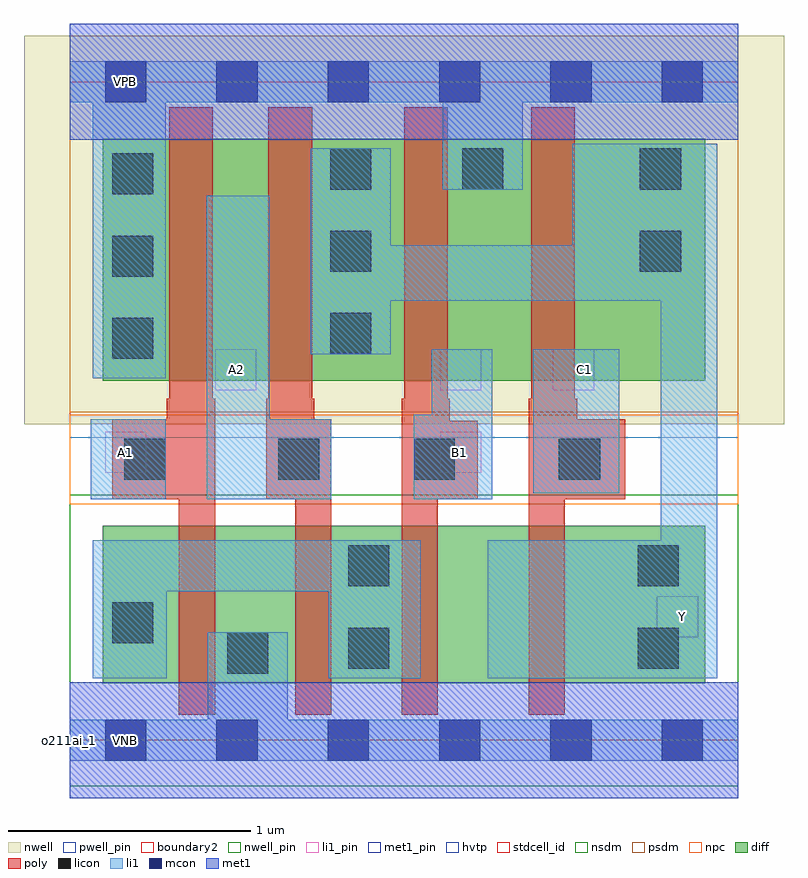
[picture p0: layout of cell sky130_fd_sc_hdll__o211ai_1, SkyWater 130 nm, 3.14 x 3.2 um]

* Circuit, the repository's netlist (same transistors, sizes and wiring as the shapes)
* Copyright 2020 The SkyWater PDK Authors
*
* Licensed under the Apache License, Version 2.0 (the "License");
* you may not use this file except in compliance with the License.
* You may obtain a copy of the License at
*
*     https://www.apache.org/licenses/LICENSE-2.0
*
* Unless required by applicable law or agreed to in writing, software
* distributed under the License is distributed on an "AS IS" BASIS,
* WITHOUT WARRANTIES OR CONDITIONS OF ANY KIND, either express or implied.
* See the License for the specific language governing permissions and
* limitations under the License.
*
* SPDX-License-Identifier: Apache-2.0

.SUBCKT sky130_fd_sc_hdll__o211ai_1 A1 A2 B1 C1 VGND VNB VPB VPWR Y
*.PININFO A1:I A2:I B1:I C1:I VGND:I VNB:I VPB:I VPWR:I Y:O
MMPA0 VPWR A1 sndA1 VPB sky130_fd_pr__pfet_01v8_hvt m=1 w=1.0U l=0.18U mult=1 sa=0.265
+ sb=0.265 sd=0.28 area=0.063 perim=1.14
MMPA1 sndA1 A2 Y VPB sky130_fd_pr__pfet_01v8_hvt m=1 w=1.0U l=0.18U mult=1 sa=0.265
+ sb=0.265 sd=0.28 area=0.063 perim=1.14
MMPB0 VPWR B1 Y VPB sky130_fd_pr__pfet_01v8_hvt m=1 w=1.0U l=0.18U mult=1 sa=0.265
+ sb=0.265 sd=0.28 area=0.063 perim=1.14
MMPC0 VPWR C1 Y VPB sky130_fd_pr__pfet_01v8_hvt m=1 w=1.0U l=0.18U mult=1 sa=0.265
+ sb=0.265 sd=0.28 area=0.063 perim=1.14
MMNA0 pndA A1 VGND VNB sky130_fd_pr__nfet_01v8 m=1 w=0.65U l=0.15U mult=1 sa=0.265
+ sb=0.265 sd=0.28 area=0.063 perim=1.14
MMNA1 pndA A2 VGND VNB sky130_fd_pr__nfet_01v8 m=1 w=0.65U l=0.15U mult=1 sa=0.265
+ sb=0.265 sd=0.28 area=0.063 perim=1.14
MMNB0 pndB B1 pndA VNB sky130_fd_pr__nfet_01v8 m=1 w=0.65U l=0.15U mult=1 sa=0.265
+ sb=0.265 sd=0.28 area=0.063 perim=1.14
MMNC0 Y C1 pndB VNB sky130_fd_pr__nfet_01v8 m=1 w=0.65U l=0.15U mult=1 sa=0.265
+ sb=0.265 sd=0.28 area=0.063 perim=1.14
.ENDS sky130_fd_sc_hdll__o211ai_1

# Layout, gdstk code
import gdstk
lib = gdstk.Library(unit=1e-6, precision=1e-09)
def R(c, l, rs):  # rectangles x0, y0, x1, y1
    for r in rs: c.add(gdstk.rectangle(r[:2], r[2:], *l))
def A(c, l, x, y, w, h, nx, ny, dx, dy):  # array of equal rectangles
    R(c, l, [(x+i*dx, y+j*dy, x+i*dx+w, y+j*dy+h) for i in range(nx) for j in range(ny)])
def P(c, l, *ps):  # polygons
    for p in ps: c.add(gdstk.Polygon(p, *l))
nwell_pin = (64, 16)
nwell = (64, 20)
diff = (65, 20)
poly = (66, 20)
licon = (66, 44)
li1_pin = (67, 16)
li1 = (67, 20)
mcon = (67, 44)
met1_pin = (68, 16)
met1 = (68, 20)
hvtp = (78, 44)
stdcell_id = (81, 4)
nsdm = (93, 44)
psdm = (94, 20)
npc = (95, 20)
pwell_pin = (122, 16)
boundary2 = (236, 0)

sky130_fd_sc_hdll__o211a = lib.new_cell('sky130_fd_sc_hdll__o211ai_1')
R(sky130_fd_sc_hdll__o211a, nwell_pin, [(0.145,2.635,0.315,2.805)])
R(sky130_fd_sc_hdll__o211a, nwell, [(-0.19,1.305,2.95,2.91)])
R(sky130_fd_sc_hdll__o211a, diff, [(0.135,0.235,2.625,0.885), (0.135,1.485,2.625,2.485)])
P(sky130_fd_sc_hdll__o211a, poly, [(0.6,1.41),(0.59,1.41),(0.59,2.615),(0.41,2.615),(0.41,1.41),(0.4,1.41),(0.4,1.325),(0.175,1.325),(0.175,0.995),(0.45,0.995),(0.45,0.105),(0.6,0.105)],
  [(1.08,1.325),(1.01,1.325),(1.01,1.41),(1,1.41),(1,2.615),(0.82,2.615),(0.82,1.41),(0.81,1.41),(0.81,0.995),(0.93,0.995),(0.93,0.105),(1.08,0.105)],
  [(1.685,1.32),(1.57,1.32),(1.57,1.41),(1.56,1.41),(1.56,2.615),(1.38,2.615),(1.38,1.41),(1.37,1.41),(1.37,0.105),(1.52,0.105),(1.52,0.995),(1.685,0.995)],
  [(2.295,1.325),(2.095,1.325),(2.095,1.41),(2.085,1.41),(2.085,2.615),(1.905,2.615),(1.905,1.41),(1.895,1.41),(1.895,0.105),(2.045,0.105),(2.045,0.995),(2.295,0.995)])
A(sky130_fd_sc_hdll__o211a, licon, 0.175, 1.575, 0.17, 0.17, 1, 3, 0, 0.34)
A(sky130_fd_sc_hdll__o211a, licon, 1.075, 1.595, 0.17, 0.17, 1, 3, 0, 0.34)
R(sky130_fd_sc_hdll__o211a, licon, [(0.65,0.275,0.82,0.445), (1.15,0.295,1.32,0.465), (2.345,0.295,2.515,0.465), (0.175,0.4,0.345,0.57), (1.15,0.635,1.32,0.805), (2.345,0.635,2.515,0.805), (0.225,1.075,0.395,1.245), (0.86,1.075,1.03,1.245), (1.42,1.075,1.59,1.245), (2.02,1.075,2.19,1.245), (2.355,1.935,2.525,2.105), (1.62,2.275,1.79,2.445), (2.355,2.275,2.525,2.445)])
R(sky130_fd_sc_hdll__o211a, li1_pin, [(2.425,0.425,2.595,0.595), (0.145,1.105,0.315,1.275), (1.53,1.105,1.7,1.275), (0.6,1.445,0.77,1.615), (1.53,1.445,1.7,1.615), (1.995,1.445,2.165,1.615)])
R(sky130_fd_sc_hdll__o211a, li1, [(0.085,0.995,0.395,1.325), (1.915,1.02,2.27,1.615)])
P(sky130_fd_sc_hdll__o211a, li1, [(1.745,1.615),(1.495,1.615),(1.495,1.345),(1.42,1.345),(1.42,0.995),(1.745,0.995)],
  [(1.45,0.825),(0.095,0.825),(0.095,0.255),(0.4,0.255),(0.4,0.615),(1.07,0.615),(1.07,0.255),(1.45,0.255)],
  [(2.675,2.465),(2.075,2.465),(2.075,2.045),(1.325,2.045),(1.325,2.445),(0.995,2.445),(0.995,1.595),(1.325,1.595),(1.325,1.815),(2.44,1.815),(2.44,0.825),(1.725,0.825),(1.725,0.255),(2.675,0.255)],
  [(2.76,2.805),(0,2.805),(0,2.635),(0.095,2.635),(0.095,1.495),(0.395,1.495),(0.395,2.635),(1.54,2.635),(1.54,2.275),(1.87,2.275),(1.87,2.635),(2.76,2.635)],
  [(2.76,0.085),(0.9,0.085),(0.9,0.445),(0.57,0.445),(0.57,0.085),(0,0.085),(0,-0.085),(2.76,-0.085)],
  [(1.08,1.325),(0.825,1.325),(0.825,2.25),(0.565,2.25),(0.565,0.995),(1.08,0.995)])
A(sky130_fd_sc_hdll__o211a, mcon, 0.145, -0.085, 0.17, 0.17, 6, 2, 0.46, 2.72)
R(sky130_fd_sc_hdll__o211a, mcon, [(1.525,2.635,1.59,2.805)])
R(sky130_fd_sc_hdll__o211a, met1_pin, [(0.145,-0.085,0.315,0.085), (0.145,2.635,0.315,2.805)])
R(sky130_fd_sc_hdll__o211a, met1, [(0,-0.24,2.76,0.24), (0,2.48,2.76,2.96)])
R(sky130_fd_sc_hdll__o211a, hvtp, [(0,1.25,2.76,2.72)])
R(sky130_fd_sc_hdll__o211a, stdcell_id, [(0,0,2.76,2.72)])
R(sky130_fd_sc_hdll__o211a, nsdm, [(0,-0.19,2.76,1.015)])
R(sky130_fd_sc_hdll__o211a, psdm, [(0,1.355,2.76,2.91)])
R(sky130_fd_sc_hdll__o211a, npc, [(0,0.975,2.76,1.345)])
R(sky130_fd_sc_hdll__o211a, pwell_pin, [(0.145,-0.085,0.315,0.085)])
R(sky130_fd_sc_hdll__o211a, boundary2, [(0,0,2.76,2.72)])
sky130_fd_sc_hdll__o211a.add(gdstk.Label('A1', (0.23,1.19), layer=67, texttype=5))
sky130_fd_sc_hdll__o211a.add(gdstk.Label('A2', (0.69,1.53), layer=67, texttype=5))
sky130_fd_sc_hdll__o211a.add(gdstk.Label('Y', (2.53,0.51), layer=67, texttype=5))
sky130_fd_sc_hdll__o211a.add(gdstk.Label('C1', (2.125,1.53), layer=67, texttype=5))
sky130_fd_sc_hdll__o211a.add(gdstk.Label('B1', (1.61,1.19), layer=67, texttype=5))
sky130_fd_sc_hdll__o211a.add(gdstk.Label('VPB', (0.23,2.72), layer=64, texttype=5))
sky130_fd_sc_hdll__o211a.add(gdstk.Label('VNB', (0.23,0), layer=64, texttype=59))
sky130_fd_sc_hdll__o211a.add(gdstk.Label('VGND', (0.23,0), layer=68, texttype=5))
sky130_fd_sc_hdll__o211a.add(gdstk.Label('VPWR', (0.23,2.72), layer=68, texttype=5))
sky130_fd_sc_hdll__o211a.add(gdstk.Label('o211ai_1', (0,0), layer=83, texttype=44))

lib.write_gds('sky130_fd_sc_hdll__o211ai_1.gds')
